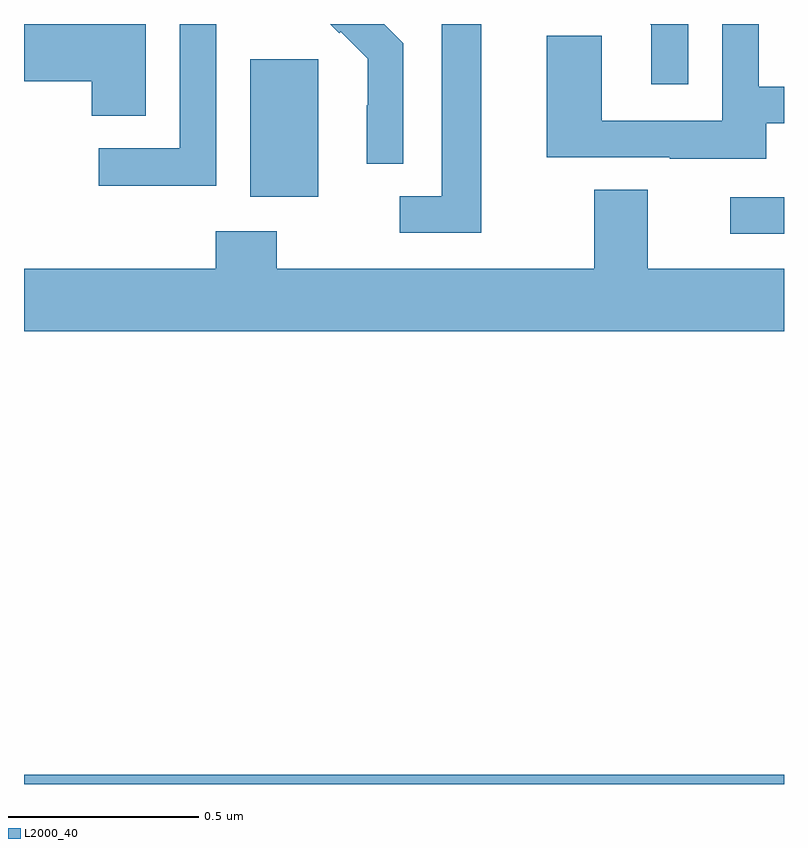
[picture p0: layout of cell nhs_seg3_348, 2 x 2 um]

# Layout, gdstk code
import gdstk
lib = gdstk.Library(unit=1e-6, precision=1e-09)
def R(c, l, rs):  # rectangles x0, y0, x1, y1
    for r in rs: c.add(gdstk.rectangle(r[:2], r[2:], *l))
def P(c, l, *ps):  # polygons
    for p in ps: c.add(gdstk.Polygon(p, *l))
L2000_40 = (2000, 40)

nhs_seg3_348 = lib.new_cell('nhs_seg3_348')
R(nhs_seg3_348, L2000_40, [(115,690.4,117,690.424), (116.859,691.848,117,691.944), (115.595,691.946,115.774,692.307)])
P(nhs_seg3_348, L2000_40, [(115.321,692.4),(115,692.4),(115,692.249),(115.178,692.249),(115.178,692.158),(115.321,692.158)],
  [(115.506,692.4),(115.41,692.4),(115.41,692.073),(115.197,692.073),(115.197,691.975),(115.506,691.975)],
  [(115.998,692.35),(115.948,692.4),(115.806,692.4),(115.83,692.376),(115.833,692.379),(115.904,692.309),(115.904,692.186),(115.902,692.186),(115.902,692.032),(115.998,692.032)],
  [(116.203,692.4),(116.099,692.4),(116.099,691.947),(115.989,691.947),(115.989,691.851),(116.203,691.851)],
  [(116.748,692.4),(116.648,692.4),(116.651,692.397),(116.651,692.241),(116.748,692.241)],
  [(116.953,692.139),(117,692.139),(117,692.235),(116.934,692.235),(116.934,692.4),(116.838,692.4),(116.838,692.145),(116.52,692.145),(116.52,692.369),(116.375,692.369),(116.375,692.049),(116.699,692.049),(116.699,692.045),(116.953,692.045)],
  [(117,691.756),(116.641,691.756),(116.641,691.964),(116.501,691.964),(116.501,691.756),(115.665,691.756),(115.665,691.855),(115.505,691.855),(115.505,691.756),(115,691.756),(115,691.592),(117,691.592)])

lib.write_gds('nhs_seg3_348.gds')
